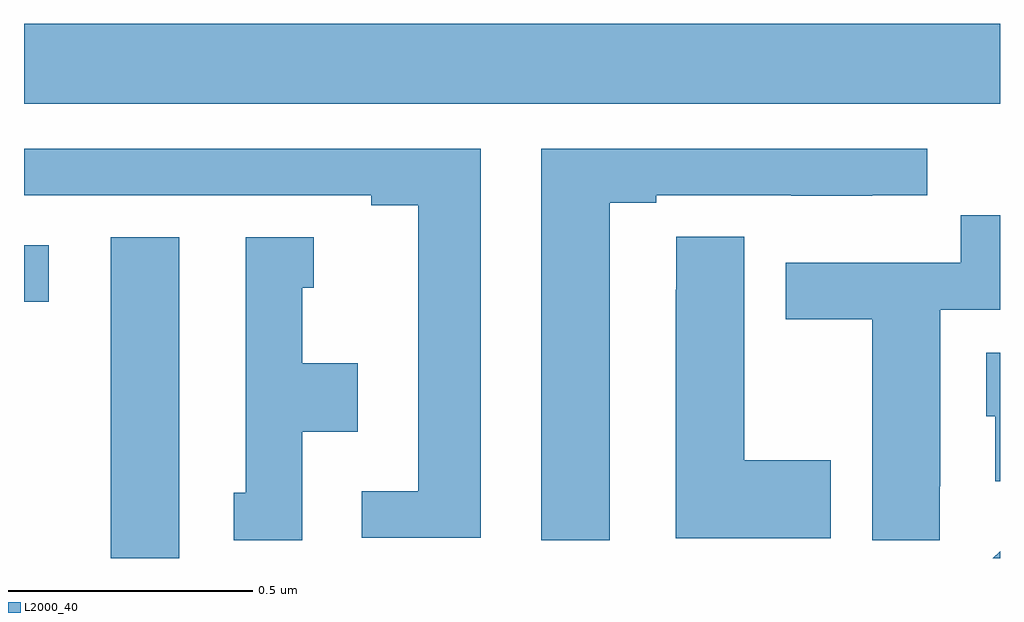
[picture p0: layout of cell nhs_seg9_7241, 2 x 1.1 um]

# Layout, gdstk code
import gdstk
lib = gdstk.Library(unit=1e-6, precision=1e-09)
def R(c, l, rs):  # rectangles x0, y0, x1, y1
    for r in rs: c.add(gdstk.rectangle(r[:2], r[2:], *l))
def P(c, l, *ps):  # polygons
    for p in ps: c.add(gdstk.Polygon(p, *l))
L2000_40 = (2000, 40)

nhs_seg9_7241 = lib.new_cell('nhs_seg9_7241')
R(nhs_seg9_7241, L2000_40, [(202.178,1183.5,202.318,1184.158), (202,1184.026,202.051,1184.142), (202,1184.432,204,1184.596)])
P(nhs_seg9_7241, L2000_40, [(203.2,1184.229),(203.296,1184.229),(203.296,1184.244),(203.572,1184.244),(203.572,1184.243),(203.738,1184.243),(203.738,1184.244),(203.851,1184.244),(203.851,1184.34),(203.06,1184.34),(203.06,1183.537),(203.2,1183.537)],
  [(202.936,1184.34),(202,1184.34),(202,1184.244),(202.712,1184.244),(202.712,1184.224),(202.808,1184.224),(202.808,1183.638),(202.692,1183.638),(202.692,1183.542),(202.936,1183.542)],
  [(203.877,1183.648),(203.878,1183.648),(203.878,1184.01),(204,1184.01),(204,1184.203),(203.92,1184.203),(203.92,1184.106),(203.561,1184.106),(203.561,1183.99),(203.738,1183.99),(203.738,1183.537),(203.877,1183.537)],
  [(203.653,1183.701),(203.476,1183.701),(203.476,1184.159),(203.337,1184.159),(203.337,1184.051),(203.336,1184.051),(203.336,1183.541),(203.653,1183.541)],
  [(202.57,1183.76),(202.684,1183.76),(202.684,1183.9),(202.57,1183.9),(202.57,1184.055),(202.594,1184.055),(202.594,1184.158),(202.454,1184.158),(202.454,1183.635),(202.43,1183.635),(202.43,1183.537),(202.57,1183.537)],
  [(204,1183.921),(203.972,1183.921),(203.972,1183.791),(203.99,1183.791),(203.99,1183.658),(204,1183.658)],
  [(204,1183.515),(203.985,1183.5),(204,1183.5)])

lib.write_gds('nhs_seg9_7241.gds')
